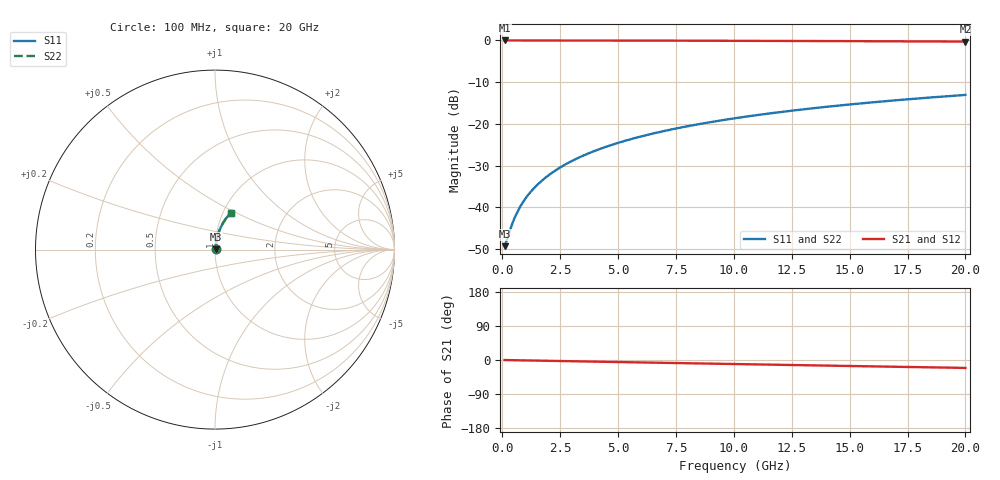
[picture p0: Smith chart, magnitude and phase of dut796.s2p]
! Touchstone file exported from HFSS 2026.1.0
!  File:  C:/ffzhzh/LocalFiles/Ansys_Project_Files/temp_train_BSMRDL_796_1783169634_51560.aedt
!  Generated:  08:55:06 PM Jul  4, 2026
!  Design:  BSMRDL
!  Project:  temp_train_BSMRDL_796_1783169634_51560
! Variables:
!  h_bsmrdl = 2.59um
!  h_ox = 20um
!  h_rdl = 5um
!  h_sub = 80um
!  h_tmrdl = 5um
!  h_tsv = 80um
!  h_via = 3um
!  l_bsmrdl = 273.98um
!  l_sub = 673.98um
!  l_tmrdl = 200um
!  m_sub = 200um
!  pitch = 31.36um
!  r_tsv = 6um
!  s_tmrdl = 10um
!  w_bsmrdl = 12.53um
!  w_sub = 500um
!  w_tmrdl = 12um
!  x_tsv_center1 = 206um
!  x_tsv_center2 = 492.51um
!  x_tsv_center3 = 704.51um
!  x_tsv_center4 = 991.02um
!  x_tsv_center5 = 1203.02um
!  x_tsv_center6 = 1489.53um
# GHz S MA R 50.000000
! Terminal data exported
! Port[1] = BSM_RDL1_1_T1
! Port[2] = BSM_RDL1_1_T2
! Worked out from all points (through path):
!   200 points, 100 MHz to 20 GHz, reference 50 ohm
!   highest |S21| = -0.03 dB at 100 MHz (marker M1); lowest = -0.3 dB at 20 GHz (marker M2)
!   group delay of S21, straight-line fit = 2.9 ps
!   lowest |S11| = -49.3 dB at 100 MHz (marker M3), VSWR 1.01, Z = 50.3 + j0.128 ohm
!   |S11| at or under -10 dB: start of sweep to end of sweep
!   |S22| runs from -49.3 to -13.1 dB; largest |S21 - S12| = 2.1e-15
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0.1  0.003431 21.8  0.9968 -0.1  0.9968 -0.1  0.003431 21.8
! Gamma 0 0 0 0
! Port Impedance 50 0 50 0
0.4  0.006042 56.2  0.9967 -0.4  0.9967 -0.4  0.006042 56.2
0.5  0.007125 61.1  0.9966 -0.6  0.9966 -0.6  0.007125 61.1
0.6  0.008235 64.6  0.9965 -0.7  0.9965 -0.7  0.008235 64.6
0.7  0.009357 67.2  0.9965 -0.8  0.9965 -0.8  0.009357 67.2
0.9  0.01162 70.9  0.9963 -1.0  0.9963 -1.0  0.01162 70.9
1.2  0.01504 74.3  0.9962 -1.3  0.9962 -1.3  0.01504 74.3
1.4  0.01733 75.8  0.9961 -1.5  0.9961 -1.5  0.01733 75.8
1.7  0.02079 77.4  0.9959 -1.9  0.9959 -1.9  0.02079 77.4
2.2  0.02658 79.1  0.9957 -2.4  0.9957 -2.4  0.02658 79.1
2.8  0.03356 80.0  0.9954 -3.0  0.9954 -3.0  0.03356 80.0
3.5  0.04172 80.5  0.995 -3.8  0.995 -3.8  0.04172 80.5
4.2  0.04987 80.5  0.9945 -4.5  0.9945 -4.5  0.04987 80.5
5  0.05917 80.3  0.9938 -5.4  0.9938 -5.4  0.05917 80.3
5.9  0.06959 79.8  0.9929 -6.3  0.9929 -6.3  0.06959 79.8
6.8  0.07995 79.2  0.9919 -7.3  0.9919 -7.3  0.07995 79.2
8.3  0.09707 78.0  0.99 -8.9  0.99 -8.9  0.09707 78.0
10.1  0.1173 76.4  0.9873 -10.8  0.9873 -10.8  0.1173 76.4
11.7  0.135 74.9  0.9845 -12.5  0.9845 -12.5  0.135 74.9
13.4  0.1535 73.2  0.9813 -14.2  0.9813 -14.2  0.1535 73.2
16.7  0.1885 70.1  0.9743 -17.6  0.9743 -17.6  0.1885 70.1
20  0.2221 66.9  0.9665 -20.9  0.9665 -20.9  0.2221 66.9
